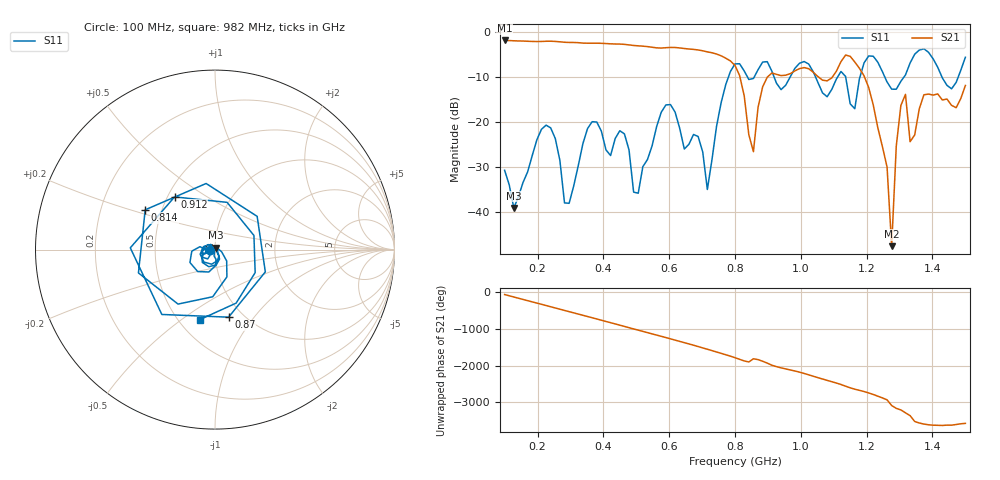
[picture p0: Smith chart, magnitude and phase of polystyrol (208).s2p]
! NanoVNA-App
! Date: 2025-09-25 15:31:30
! Start: 100MHz Stop: 1,5GHz Points: 101
! S-Parameter data: F S11 S21 S12 S22
# Hz S RI R 50
!  Frequency  S11_Real  S11_Imag  S21_Real  S21_Imag  S12_Real  S12_Imag  S22_Real  S22_Imag
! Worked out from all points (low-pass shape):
!   101 points, 100 MHz to 1.5 GHz, reference 50 ohm
!   highest |S21| = -1.80 dB at 100 MHz (marker M1); lowest = -47.6 dB at 1.276 GHz (marker M2)
!   |S21| within 3 dB of the highest: start of sweep to 743 MHz
!   lowest |S11| = -39.1 dB at 128 MHz (marker M3), VSWR 1.02, Z = 50.3 + j1.06 ohm
!   |S11| at or under -10 dB: start of sweep to 779.7 MHz; 1.045 GHz to 1.111 GHz (66.22 MHz wide, 6.14 % of centre); 1.256 GHz to 1.313 GHz (57.16 MHz wide, 4.45 % of centre) (the widest 3 of 7)
!   S12 and S22 are empty: the file has one direction only
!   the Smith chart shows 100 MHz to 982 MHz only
!   S11 on the Smith chart (normalised r, x): 100 MHz: 0.94, -0.01; 814 MHz: 0.40, +0.22; 870 MHz: 0.86, -0.76; 912 MHz: 0.54, +0.37; 982 MHz: 0.63, -0.59
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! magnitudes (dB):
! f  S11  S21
! 100 MHz  -30.7  -1.8
! 128 MHz  -39.1  -1.9
! 212 MHz  -21.6  -2.0
! 282 MHz  -38.0  -2.2
! 338 MHz  -24.7  -2.4
! 506 MHz  -35.8  -3.0
! 576 MHz  -17.8  -3.5
! 716 MHz  -35.0  -4.3
! 800 MHz  -7.0  -7.4
! 814 MHz  -7.0  -9.6
! 856 MHz  -10.3  -26.6
! 870 MHz  -8.3  -16.7
! 912 MHz  -8.6  -9.0
! 982 MHz  -8.0  -8.6
! 1.038 GHz  -8.8  -8.9
! 1.192 GHz  -6.8  -9.7
! 1.262 GHz  -11.0  -30.0
! 1.276 GHz  -12.6  -47.6
! 1.29 GHz  -12.7  -25.3
! 1.318 GHz  -9.5  -13.8
! 1.332 GHz  -6.8  -24.3
! 1.5 GHz  -5.5  -11.8
